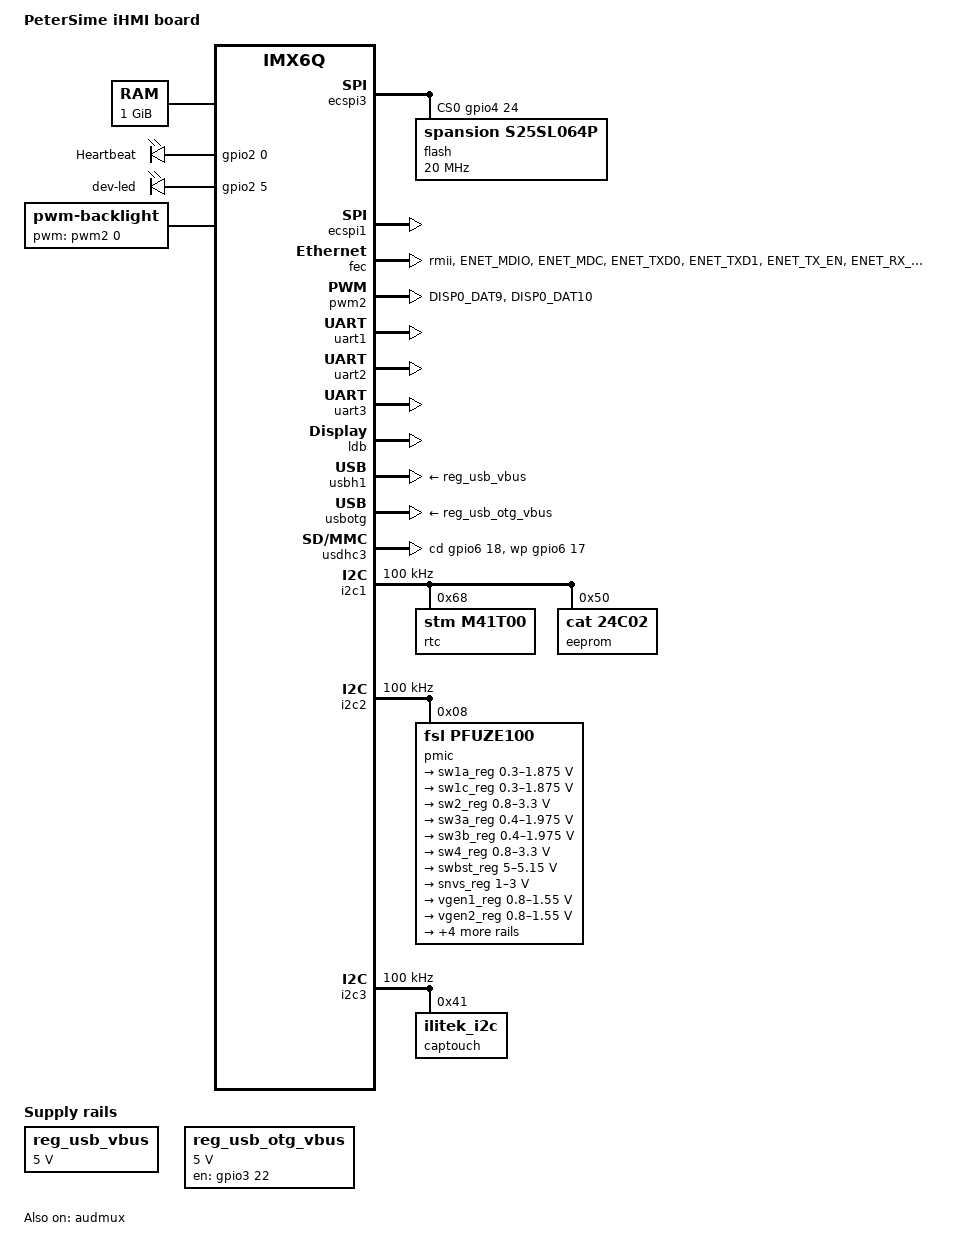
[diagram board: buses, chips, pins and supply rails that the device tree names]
/*
 * Copyright (C) 2013-2014 Freescale Semiconductor, Inc.
 *
 * This program is free software; you can redistribute it and/or modify
 * it under the terms of the GNU General Public License version 2 as
 * published by the Free Software Foundation.
 */

/dts-v1/;

#include "imx6q.dtsi"


/ {
	model = "PeterSime iHMI board";
	compatible = "fsl,imx6q-sabresd", "fsl,imx6q";
};

/ {
	aliases {
		mxcfb0 = &mxcfb1;
	};

	memory {
		reg = <0x10000000 0x40000000>;
	};
	
	leds {
		compatible = "gpio-leds";
        status = "okay";

		dev-led-1 {
            label = "Heartbeat";
			gpios = <&gpio2 0 0>;
            linux,default-trigger = "heartbeat";
            default-state = "on";
		};
        
        dev-led-2 {
            label = "dev-led";
			gpios = <&gpio2 5 0>;
            default-state = "keep";
		};
        
	};

	regulators {
		compatible = "simple-bus";
		#address-cells = <1>;
		#size-cells = <0>;

		reg_usb_vbus: regulator@0 {
			compatible = "regulator-fixed";
			reg = <0>;
			regulator-name = "usb_vbus";
			regulator-min-microvolt = <5000000>;
			regulator-max-microvolt = <5000000>;
			enable-active-high;
		};
        
        reg_usb_otg_vbus: regulator@1 {
			compatible = "regulator-fixed";
			reg = <1>;
			regulator-name = "usb_otg_vbus";
			regulator-min-microvolt = <5000000>;
			regulator-max-microvolt = <5000000>;
			gpio = <&gpio3 22 0>;
			enable-active-high;
		};

	};


	mxcfb1: fb@0 {
		compatible = "fsl,mxc_sdc_fb";
		disp_dev = "ldb";
		interface_pix_fmt = "RGB24";
		mode_str ="LDB-XGA";
		default_bpp = <32>;
		int_clk = <0>;
		late_init = <0>;
		status = "okay";
	};
    


	backlight {
		compatible = "pwm-backlight";
		pwms = <&pwm2 0 50000>;
		brightness-levels = <0 4 8 16 32 64 128 255>;
		default-brightness-level = <5>;
	};

};

&audmux {
	pinctrl-names = "default";
	pinctrl-0 = <&pinctrl_audmux_2>;
	status = "okay";
};

&cpu0 {
	arm-supply = <&sw1a_reg>;
	soc-supply = <&sw1c_reg>;
	pu-supply = <&pu_dummy>; /* use pu_dummy if VDDSOC share with VDDPU */
};

&gpc {
	fsl,cpu_pupscr_sw2iso = <0xf>;
	fsl,cpu_pupscr_sw = <0xf>;
	fsl,cpu_pdnscr_iso2sw = <0x1>;
	fsl,cpu_pdnscr_iso = <0x1>;
	fsl,ldo-bypass = <1>; /* use ldo-bypass, u-boot will check it and configure */
	fsl,wdog-reset = <1>; /* watchdog select of reset source */
	pu-supply = <&pu_dummy>; /* ldo-bypass:use pu_dummy if VDDSOC share with VDDPU */
};

&ecspi3 {
	fsl,spi-num-chipselects = <1>;
	cs-gpios = <&gpio4 24 0>;
	status = "okay";

	flash: s25fl064 {
		#address-cells = <1>;
		#size-cells = <1>;
		compatible = "spansion,s25sl064p";
		spi-max-frequency = <20000000>;
		reg = <0>;
        
        uboot@400 {
            label = "U-boot";
            reg = <0x400 0x1FFC00>;        
        };
        
        image@200000 {
            label = "Error Image";
            reg = <0x200000 0x400000>;        
        };
        
        ubootenv@0x7F0000 {
            label = "U-boot environment";
            reg = <0x7F0000 0x10000>;        
        };
        
	};
};


&ecspi2 {
	fsl,spi-num-chipselects = <1>;
	cs-gpios = <&gpio5 12 0>;
	pinctrl-names = "default";
	status = "disabled";
};

&ecspi1 {
	fsl,spi-num-chipselects = <3>;
	cs-gpios = <&gpio4 9 0>, 
               <&gpio4 10 0>,
               <&gpio4 11 0>;
	pinctrl-names = "default";
	status = "okay";    
};


&fec {
	pinctrl-names = "default";
	pinctrl-0 = <&pinctrl_enet_mii_1>;
	phy-mode = "rmii";
	status = "okay";
    
    pinctrl_enet_mii_1: enet-mii-1 {
        fsl,pins = <
            MX6QDL_PAD_ENET_MDIO__ENET_MDIO      0x80000000
            MX6QDL_PAD_ENET_MDC__ENET_MDC        0x80000000
            MX6QDL_PAD_ENET_TXD0__ENET_TX_DATA0  0x80000000
            MX6QDL_PAD_ENET_TXD1__ENET_TX_DATA1  0x80000000
            MX6QDL_PAD_ENET_TX_EN__ENET_TX_EN    0x80000000
            MX6QDL_PAD_ENET_RX_ER__ENET_RX_ER    0x80000000
            MX6QDL_PAD_ENET_RXD0__ENET_RX_DATA0  0x80000000
            MX6QDL_PAD_ENET_RXD1__ENET_RX_DATA1  0x80000000
            MX6QDL_PAD_ENET_CRS_DV__ENET_RX_EN   0x80000000
            MX6QDL_PAD_GPIO_19__ENET_TX_ER       0x80000000
            MX6QDL_PAD_GPIO_16__ENET_REF_CLK     0x80000000
            MX6QDL_PAD_NANDF_CS0__GPIO6_IO11     0x80000000
        >;
    };
};

#if 0
&gpu {
	pu-supply = <&pu_dummy>; /* ldo-bypass:use pu_dummy if VDDSOC share with VDDPU */
};
#endif

&pwm2 {
	pinctrl-names = "default";
	pinctrl-0 = <&pinctrl_pwm2_1>;
	status = "okay";
    
    pinctrl_pwm2_1: pwm2grp-1 {
        fsl,pins = <
            MX6QDL_PAD_DISP0_DAT9__PWM2_OUT 0x80000000
            MX6QDL_PAD_DISP0_DAT10__GPIO4_IO31 0x80000000
        >;
    };
};

&uart1 {
	status = "okay";
};


&uart2 {
	status = "okay";
};

&uart3 {
	status = "okay";
};

&ldb {
	ipu_id = <0>;
	disp_id = <0>;
	ext_ref = <1>;
	mode = "sep0";
	sec_ipu_id = <1>;
	sec_disp_id = <1>;
	status = "okay";
    
            
    lvds-channel@0 {
          #address-cells = <1>;
          #size-cells = <0>;
          reg = <0>;
          fsl,data-mapping = "spwg";
         fsl,data-width = <24>;

         display-timings {
            native-mode = <&timing0>;
            timing0: XGA {
                clock-frequency = <71100000>;
                hactive = <1280>;
                vactive = <800>;
                hfront-porch = <50>;
                hback-porch = <50>;
                hsync-len = <60>;
                vback-porch = <8>;
                vfront-porch = <8>;
                vsync-len = <7>;
                hsync-active = <1>;
            };                        
        };

         port@0 {                         
            reg = <0>;
         };
    };
};

&usbh1 {
	vbus-supply = <&reg_usb_vbus>;
	status = "okay";
};

&usbotg {
	vbus-supply = <&reg_usb_otg_vbus>;
	pinctrl-names = "default";
	pinctrl-0 = <&pinctrl_usbotg_1>;
	disable-over-current;
	status = "okay";
};


&usdhc3 {
	pinctrl-names = "default";
	pinctrl-0 = <&pinctrl_usdhc3_2>;
	cd-gpios = <&gpio6 18 0>;
	wp-gpios = <&gpio6 17 0>;
	no-1-8-v;
	keep-power-in-suspend;
	enable-sdio-wakeup;
	status = "okay";
};


&vpu {
	pu-supply = <&pu_dummy>; /* ldo-bypass:use pu_dummy if VDDSOC share with VDDPU */
};


&i2c1 {
	clock-frequency = <100000>;
	pinctrl-names = "default";
	pinctrl-0 = <&pinctrl_i2c1_2>;
	status = "okay";

    rtc: m41t00@68 {
        compatible = "stm,m41t00"; /* dallas,ds1340*/
        reg = <0x68>;
    };
    
    eeprom: cat24c02@50 {
        compatible = "cat,24c02";
        reg = <0x50>;
        pagesize = <16>;
    };
};


&i2c2 {
	clock-frequency = <100000>;
	pinctrl-names = "default";
	pinctrl-0 = <&pinctrl_i2c2_2>;
	status = "okay";    
    
	pmic: pfuze100@08 {
		compatible = "fsl,pfuze100";
		reg = <0x08>;
        interrupt-parent = <&gpio7>; /* interrupt on GPIO 3
        interrupts = <13 1>; /* 1 = low-to-high edge triggered */
        pinctrl-names = "default";
        pinctrl-0 = <&pmic_interrupt>;
        
        pmic_interrupt: pmic_interrupt0 {
            fsl,pins = <
                MX6QDL_PAD_GPIO_18__GPIO7_IO13 0x130b1
            >;
        };
		
        regulators {
            // VCORE
			sw1a_reg: sw1ab {
				regulator-min-microvolt = <300000>;
				regulator-max-microvolt = <1875000>;
				regulator-boot-on;
				regulator-always-on;
				regulator-ramp-delay = <6250>;
			};

            // VSOC
			sw1c_reg: sw1c {
				regulator-min-microvolt = <300000>;
				regulator-max-microvolt = <1875000>;
				regulator-boot-on;
				regulator-always-on;
				regulator-ramp-delay = <6250>;
			};

            // 3V3
			sw2_reg: sw2 {
				regulator-min-microvolt = <800000>;
				regulator-max-microvolt = <3300000>;
				regulator-boot-on;
				regulator-always-on;
			};

            // DDR_1V5
			sw3a_reg: sw3a {
				regulator-min-microvolt = <400000>;
				regulator-max-microvolt = <1975000>;
				regulator-boot-on;
				regulator-always-on;
			};

            // unused
			sw3b_reg: sw3b {
				regulator-min-microvolt = <400000>;
				regulator-max-microvolt = <1975000>;
				regulator-boot-on;
				regulator-always-on;
			};

            // 3V15
			sw4_reg: sw4 {
				regulator-min-microvolt = <800000>;
				regulator-max-microvolt = <3300000>;
				regulator-boot-on;
				regulator-always-on;
			};

            // BST_5V
			swbst_reg: swbst {
				regulator-min-microvolt = <5000000>;
				regulator-max-microvolt = <5150000>;
				regulator-boot-on;
				regulator-always-on;
			};

            // NC
			snvs_reg: vsnvs {
				regulator-min-microvolt = <1000000>;
				regulator-max-microvolt = <3000000>;
			};

            // NC
			vref_reg: vrefddr {
			};

            // RGMII -> unused
			vgen1_reg: vgen1 {
				regulator-min-microvolt = <800000>;
				regulator-max-microvolt = <1550000>;
			};

			
            // PCI-E -> unused
			vgen2_reg: vgen2 {
				regulator-min-microvolt = <800000>;
				regulator-max-microvolt = <1550000>;
			};

            // NC
			vgen3_reg: vgen3 {
				regulator-min-microvolt = <1800000>;
				regulator-max-microvolt = <3300000>;
			};

            // NC
			vgen4_reg: vgen4 {
				regulator-min-microvolt = <1800000>;
				regulator-max-microvolt = <3300000>;
				regulator-boot-on;
				regulator-always-on;
			};

            // on for now, to be confirmed
			vgen5_reg: vgen5 {
				regulator-min-microvolt = <1800000>;
				regulator-max-microvolt = <3300000>;
				regulator-boot-on;
				regulator-always-on;
			};

			vgen6_reg: vgen6 {
				regulator-min-microvolt = <1800000>;
				regulator-max-microvolt = <3300000>;
				regulator-boot-on;
				regulator-always-on;
			};
		};
	};
    
};

&i2c3 {
        clock-frequency = <100000>;
        pinctrl-names = "default";
        pinctrl-0 = <&pinctrl_i2c3_1>;
        status = "okay";
        
        captouch: ilitek@41 {
        compatible = "ilitek_i2c";
        reg = <0x41>;
    };
};



&iomuxc {
	pinctrl-names = "default";
	pinctrl-0 = <&pinctrl_hog_1>;

	hog {
		pinctrl_hog_1: hoggrp-1 {
			fsl,pins = <
            // LEDS
                MX6QDL_PAD_NANDF_D0__GPIO2_IO00 0x80000000
                MX6QDL_PAD_NANDF_D5__GPIO2_IO05 0x80000000
            // SPI            
            MX6QDL_PAD_DISP0_DAT17__ECSPI2_MISO 0x10051
            MX6QDL_PAD_DISP0_DAT16__ECSPI2_MOSI 0x10051
            MX6QDL_PAD_DISP0_DAT19__ECSPI2_SCLK 0x10051
            MX6QDL_PAD_DISP0_DAT18__GPIO5_IO12 0x1b051
                        
            MX6QDL_PAD_DISP0_DAT3__GPIO4_IO24 0x80000000
            
            // Touch Control reset
            MX6QDL_PAD_NANDF_RB0__GPIO6_IO10 0x1f0b0
            
            
			>;
		};
	};      
};

    

    
    

    

   
